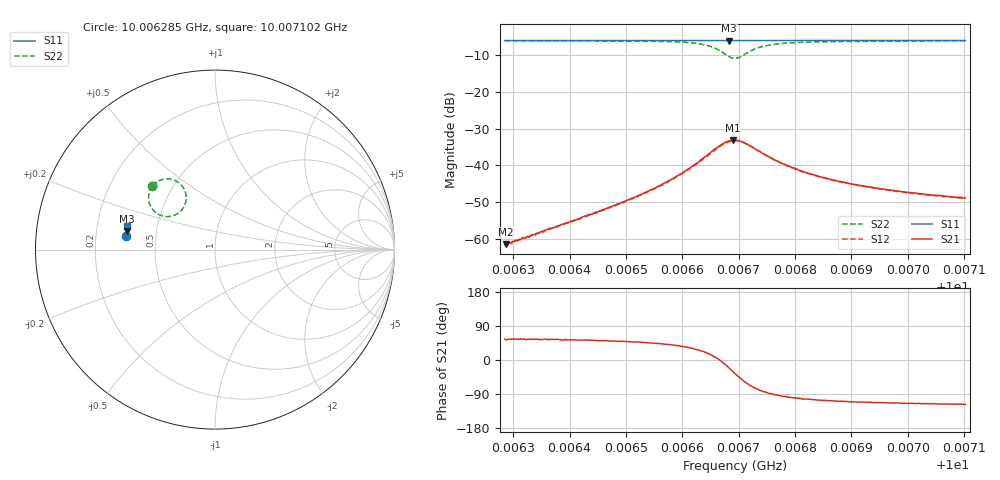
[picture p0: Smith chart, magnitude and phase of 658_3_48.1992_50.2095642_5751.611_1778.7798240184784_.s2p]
#  HZ  S  RI  R  50.00
! Rohde & Schwarz Vector Network Analyzer
! Rohde-Schwarz,ZNB20-2Port,1311601062101988,3.16
! Created: UTC 3/20/2024, 12:05:37 PM
! freq[Hz]  re:S11  im:S11  re:S21  im:S21  re:S12  im:S12  re:S22  im:S22
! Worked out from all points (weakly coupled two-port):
!   401 points, 10.006285 GHz to 10.007102 GHz, reference 50 ohm
!   highest |S21| = -33.15 dB at 10.00669 GHz (marker M1); lowest = -61.6 dB at 10.006287 GHz (marker M2)
!   lowest |S11| = -6.0 dB at 10.006683 GHz (marker M3), VSWR 3.02, Z = 16.7 + j4.65 ohm
!   |S11| at or under -10 dB: nowhere
!   |S22| runs from -10.8 to -6.0 dB; largest |S21 - S12| = 0.0019
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1.00062848e10  -0.4976 0.0785  0.000476 0.000683  0.000424 0.000662  -0.3512 0.3556
1.00062869e10  -0.4976 0.0786  0.000497 0.000665  0.000445 0.000694  -0.3511 0.3558
1.00064218e10  -0.4962 0.0875  0.00118 0.00156  0.00106 0.00159  -0.3366 0.3685
1.00064913e10  -0.4957 0.0921  0.00199 0.00235  0.00187 0.00237  -0.324 0.3774
1.00065587e10  -0.4949 0.0967  0.00379 0.0036  0.00352 0.00371  -0.301 0.3883
1.00066017e10  -0.4941 0.0996  0.00653 0.00464  0.00613 0.00484  -0.2713 0.3941
1.00066385e10  -0.4932 0.1019  0.0118 0.00477  0.0112 0.00512  -0.2208 0.3842
1.00066609e10  -0.4923 0.1034  0.0171 0.00166  0.0165 0.00254  -0.1765 0.345
1.00066732e10  -0.4918 0.1037  0.0197 -0.00278  0.0192 -0.0015  -0.1608 0.3004
1.00066834e10  -0.4914 0.1039  0.02 -0.00795  0.02 -0.00627  -0.1667 0.2527
1.00066896e10  -0.4915 0.1038  0.0191 -0.0109  0.0194 -0.00924  -0.1817 0.2253
1.00066937e10  -0.4915 0.1041  0.0178 -0.0129  0.0184 -0.0113  -0.1959 0.2101
1.00067018e10  -0.4916 0.1041  0.0149 -0.0155  0.0156 -0.0143  -0.2307 0.1898
1.00067121e10  -0.492 0.1045  0.0104 -0.0171  0.0115 -0.0161  -0.2755 0.1843
1.00067264e10  -0.4922 0.1054  0.00527 -0.0164  0.00645 -0.016  -0.3223 0.2009
1.00067407e10  -0.4924 0.1065  0.00222 -0.0146  0.00319 -0.0145  -0.3486 0.2253
1.00067836e10  -0.4924 0.1094  -0.00102 -0.01  -0.000555 -0.00997  -0.3698 0.2803
1.00068306e10  -0.4919 0.1128  -0.00187 -0.00727  -0.00149 -0.00725  -0.3678 0.3105
1.00068838e10  -0.4913 0.1162  -0.00192 -0.00558  -0.00161 -0.00561  -0.3622 0.329
1.00069676e10  -0.4901 0.1217  -0.00182 -0.0042  -0.00156 -0.00423  -0.354 0.3456
1.00070391e10  -0.4891 0.1263  -0.0017 -0.00358  -0.00148 -0.0036  -0.3481 0.3548
1.00071025e10  -0.4883 0.1303  -0.00164 -0.00317  -0.00142 -0.00321  -0.3434 0.361
